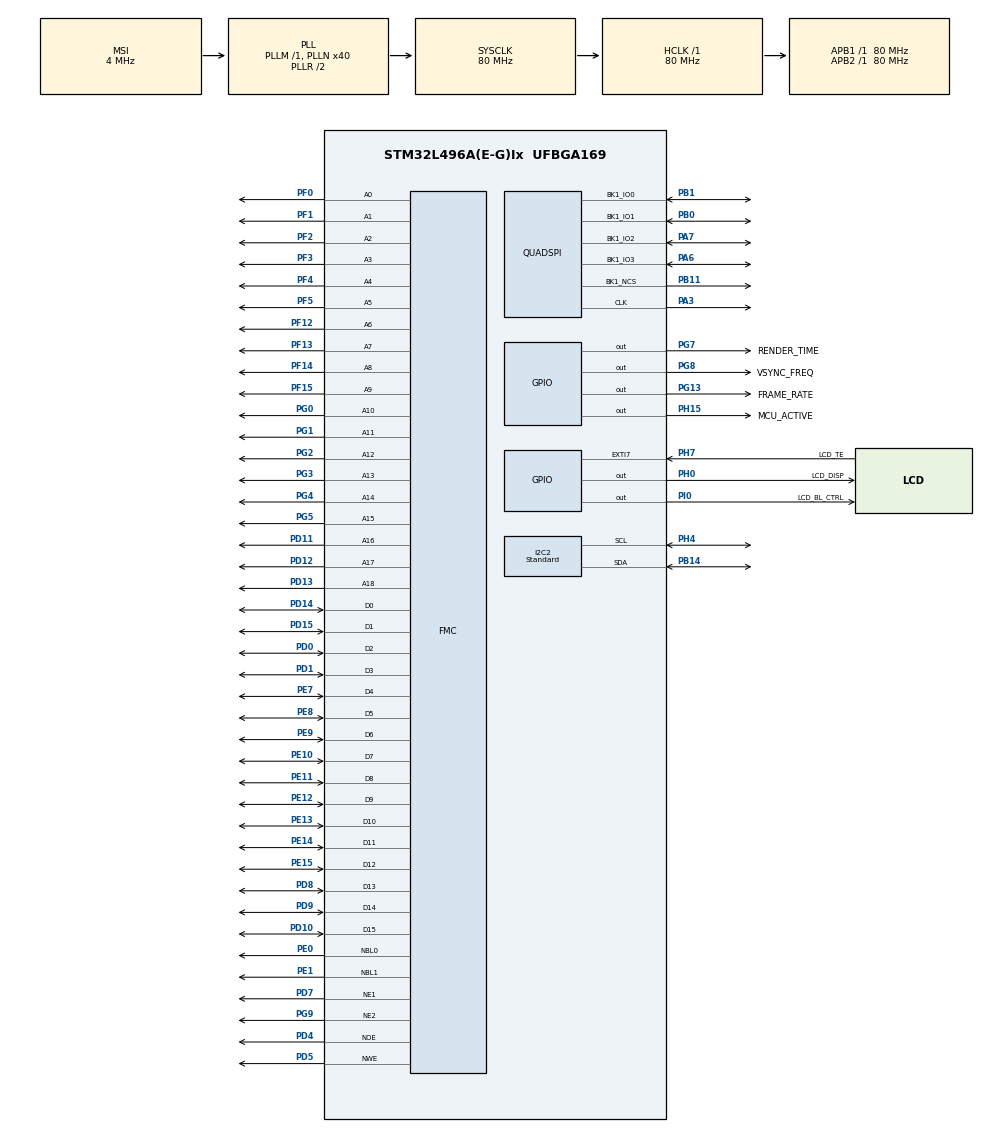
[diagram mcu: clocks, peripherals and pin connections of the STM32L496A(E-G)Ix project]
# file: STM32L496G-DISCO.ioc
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DMA2D.ColorMode=DMA2D_OUTPUT_RGB565
DMA2D.Mode=DMA2D_R2M
FMC.AddressSetupTime1=5
FMC.AddressSetupTime2=5
FMC.BusTurnAroundDuration1=0
FMC.BusTurnAroundDuration2=1
FMC.DataSetupTime1=3
FMC.DataSetupTime2=3
FMC.ExtendedMode1=FMC_EXTENDED_MODE_DISABLE
FMC.ExtendedMode2=FMC_EXTENDED_MODE_DISABLE
FMC.WriteFifo1=FMC_WRITE_FIFO_DISABLE
FMC.WriteFifo2=FMC_WRITE_FIFO_DISABLE
FMC.WriteFifo3=FMC_WRITE_FIFO_DISABLE
FMC.WriteFifo4=FMC_WRITE_FIFO_DISABLE
FMC.WriteOperation2=FMC_WRITE_OPERATION_ENABLE
FREERTOS.INCLUDE_eTaskGetState=1
FREERTOS.INCLUDE_pcTaskGetTaskName=1
FREERTOS.INCLUDE_vTaskCleanUpResources=1
FREERTOS.INCLUDE_vTaskDelayUntil=1
FREERTOS.INCLUDE_xQueueGetMutexHolder=1
FREERTOS.INCLUDE_xSemaphoreGetMutexHolder=0
FREERTOS.INCLUDE_xTaskGetCurrentTaskHandle=1
FREERTOS.INCLUDE_xTaskResumeFromISR=1
FREERTOS.MEMORY_ALLOCATION=0
FREERTOS.Tasks01=defaultTask,24,128,StartDefaultTask,Default,NULL,Dynamic,NULL,NULL;TouchGFXTask,24,2048,TouchGFX_Task,As external,NULL,Dynamic,NULL,NULL
FREERTOS.configTOTAL_HEAP_SIZE=16384
FREERTOS.configUSE_APPLICATION_TASK_TAG=1
FREERTOS.configUSE_COUNTING_SEMAPHORES=1
FREERTOS.configUSE_IDLE_HOOK=1
FREERTOS.configUSE_NEWLIB_REENTRANT=0
FREERTOS.configUSE_RECURSIVE_MUTEXES=1
I2C2.Analog_Filter=I2C_ANALOGFILTER_DISABLE
I2C2.I2C_Coeff_DF=0
I2C2.I2C_Fall_Time=0
I2C2.I2C_Rise_Time=0
I2C2.I2C_Speed_Mode=I2C_Standard
I2C2.OwnAddress=0
I2C2.Timing=0x10909EEE
Mcu.Family=STM32L4
Mcu.Name=STM32L496A(E-G)Ix
Mcu.Package=UFBGA169
NVIC.DMA2D_IRQn=true\:6\:0\:true\:false\:true\:false\:true\:true\:true
NVIC.EXTI9_5_IRQn=true\:5\:0\:true\:false\:true\:false\:true\:true\:true
NVIC.I2C2_EV_IRQn=true\:0\:0\:true\:false\:true\:false\:true\:true\:true
NVIC.PriorityGroup=NVIC_PRIORITYGROUP_4
NVIC.TIM6_DAC_IRQn=true\:0\:0\:false\:false\:true\:false\:false\:true\:true
NVIC.TimeBase=TIM6_DAC_IRQn
NVIC.TimeBaseIP=TIM6
PA3.Mode=Single Bank 1
PA3.Signal=QUADSPI_CLK
PA6.Mode=Single Bank 1
PA6.Signal=QUADSPI_BK1_IO3
PA7.Mode=Single Bank 1
PA7.Signal=QUADSPI_BK1_IO2
PB0.Mode=Single Bank 1
PB0.Signal=QUADSPI_BK1_IO1
PB1.Mode=Single Bank 1
PB1.Signal=QUADSPI_BK1_IO0
PB11.Mode=Single Bank 1
PB11.Signal=QUADSPI_BK1_NCS
PB14.GPIO_Pu=GPIO_PULLUP
PB14.Mode=I2C
PB14.Signal=I2C2_SDA
PC14-OSC32_IN\ (PC14).Mode=LSE-External-Oscillator
PC14-OSC32_IN\ (PC14).Signal=RCC_OSC32_IN
PC15-OSC32_OUT\ (PC15).Mode=LSE-External-Oscillator
PC15-OSC32_OUT\ (PC15).Signal=RCC_OSC32_OUT
PD0.Signal=FMC_D2_DA2
PD1.Signal=FMC_D3_DA3
PD10.Signal=FMC_D15_DA15
PD11.Signal=FMC_A16_CLE
PD12.Signal=FMC_A17_ALE
PD13.Signal=FMC_A18
PD14.Signal=FMC_D0_DA0
PD15.Signal=FMC_D1_DA1
PD4.Signal=FMC_NOE
PD5.Signal=FMC_NWE
PD7.Mode=NorPsramChipSelect1_1
PD7.Signal=FMC_NE1
PD8.Signal=FMC_D13_DA13
PD9.Signal=FMC_D14_DA14
PE0.Signal=FMC_NBL0
PE1.Signal=FMC_NBL1
PE10.Signal=FMC_D7_DA7
PE11.Signal=FMC_D8_DA8
PE12.Signal=FMC_D9_DA9
PE13.Signal=FMC_D10_DA10
PE14.Signal=FMC_D11_DA11
PE15.Signal=FMC_D12_DA12
PE7.Signal=FMC_D4_DA4
PE8.Signal=FMC_D5_DA5
PE9.Signal=FMC_D6_DA6
PF0.Signal=FMC_A0
PF1.Signal=FMC_A1
PF12.Signal=FMC_A6
PF13.Signal=FMC_A7
PF14.Signal=FMC_A8
PF15.Signal=FMC_A9
PF2.Signal=FMC_A2
PF3.Signal=FMC_A3
PF4.Signal=FMC_A4
PF5.Signal=FMC_A5
PG0.Signal=FMC_A10
PG1.Signal=FMC_A11
PG13.GPIO_Label=FRAME_RATE
PG13.GPIO_Speed=GPIO_SPEED_FREQ_VERY_HIGH
PG13.Signal=GPIO_Output
PG2.Signal=FMC_A12
PG3.Signal=FMC_A13
PG4.Signal=FMC_A14
PG5.Signal=FMC_A15
PG7.GPIO_Label=RENDER_TIME
PG7.GPIO_Speed=GPIO_SPEED_FREQ_VERY_HIGH
PG7.Signal=GPIO_Output
PG8.GPIO_Label=VSYNC_FREQ
PG8.GPIO_Speed=GPIO_SPEED_FREQ_VERY_HIGH
PG8.Signal=GPIO_Output
PG9.Mode=NorPsramChipSelect2_2
PG9.Signal=FMC_NE2
PH0-OSC_IN\ (PH0).GPIO_Label=LCD_DISP
PH0-OSC_IN\ (PH0).PinState=GPIO_PIN_SET
PH0-OSC_IN\ (PH0).Signal=GPIO_Output
PH15.GPIO_Label=MCU_ACTIVE
PH15.GPIO_Speed=GPIO_SPEED_FREQ_VERY_HIGH
PH15.Signal=GPIO_Output
PH4.GPIO_Pu=GPIO_PULLUP
PH4.Mode=I2C
PH4.Signal=I2C2_SCL
PH7.GPIO_Label=LCD_TE
PH7.GPIO_ModeDefaultEXTI=GPIO_MODE_IT_RISING_FALLING
PH7.Signal=GPXTI7
PI0.GPIO_Label=LCD_BL_CTRL
PI0.GPIO_Speed=GPIO_SPEED_FREQ_LOW
PI0.Signal=GPIO_Output
ProjectManager.HeapSize=0x400
ProjectManager.StackSize=0x400
ProjectManager.TargetToolchain=STM32CubeIDE
QUADSPI.ClockPrescaler=2
QUADSPI.FifoThreshold=4
QUADSPI.FlashSize=22
QUADSPI.SampleShifting=QSPI_SAMPLE_SHIFTING_HALFCYCLE
RCC.AHBFreq_Value=80000000
RCC.APB1Freq_Value=80000000
RCC.APB1TimFreq_Value=80000000
RCC.APB2Freq_Value=80000000
RCC.APB2TimFreq_Value=80000000
RCC.CortexFreq_Value=80000000
RCC.HCLKFreq_Value=80000000
RCC.HSE_VALUE=8000000
RCC.HSI48_VALUE=48000000
RCC.HSI_VALUE=16000000
RCC.MSI_VALUE=4000000
RCC.PLLN=40
RCC.SYSCLKFreq_VALUE=80000000
RCC.SYSCLKSource=RCC_SYSCLKSOURCE_PLLCLK
RCC.VCOOutputFreq_Value=160000000
SH.FMC_A0.0=FMC_A0,18b-a2
SH.FMC_A1.0=FMC_A1,18b-a2
SH.FMC_A10.0=FMC_A10,18b-a2
SH.FMC_A11.0=FMC_A11,18b-a2
SH.FMC_A12.0=FMC_A12,18b-a2
SH.FMC_A13.0=FMC_A13,18b-a2
SH.FMC_A14.0=FMC_A14,18b-a2
SH.FMC_A15.0=FMC_A15,18b-a2
SH.FMC_A16_CLE.0=FMC_A16,18b-a2
SH.FMC_A17_ALE.0=FMC_A17,18b-a2
SH.FMC_A18.0=FMC_A18,A18_1
SH.FMC_A2.0=FMC_A2,18b-a2
SH.FMC_A3.0=FMC_A3,18b-a2
SH.FMC_A4.0=FMC_A4,18b-a2
SH.FMC_A5.0=FMC_A5,18b-a2
SH.FMC_A6.0=FMC_A6,18b-a2
SH.FMC_A7.0=FMC_A7,18b-a2
SH.FMC_A8.0=FMC_A8,18b-a2
SH.FMC_A9.0=FMC_A9,18b-a2
SH.FMC_D0_DA0.0=FMC_D0,16b-d2
SH.FMC_D0_DA0.1=FMC_D0,16b-d1
SH.FMC_D10_DA10.0=FMC_D10,16b-d2
SH.FMC_D10_DA10.1=FMC_D10,16b-d1
SH.FMC_D11_DA11.0=FMC_D11,16b-d2
SH.FMC_D11_DA11.1=FMC_D11,16b-d1
SH.FMC_D12_DA12.0=FMC_D12,16b-d2
SH.FMC_D12_DA12.1=FMC_D12,16b-d1
SH.FMC_D13_DA13.0=FMC_D13,16b-d2
SH.FMC_D13_DA13.1=FMC_D13,16b-d1
SH.FMC_D14_DA14.0=FMC_D14,16b-d2
SH.FMC_D14_DA14.1=FMC_D14,16b-d1
SH.FMC_D15_DA15.0=FMC_D15,16b-d2
SH.FMC_D15_DA15.1=FMC_D15,16b-d1
SH.FMC_D1_DA1.0=FMC_D1,16b-d2
SH.FMC_D1_DA1.1=FMC_D1,16b-d1
SH.FMC_D2_DA2.0=FMC_D2,16b-d2
SH.FMC_D2_DA2.1=FMC_D2,16b-d1
SH.FMC_D3_DA3.0=FMC_D3,16b-d2
SH.FMC_D3_DA3.1=FMC_D3,16b-d1
SH.FMC_D4_DA4.0=FMC_D4,16b-d2
SH.FMC_D4_DA4.1=FMC_D4,16b-d1
SH.FMC_D5_DA5.0=FMC_D5,16b-d2
SH.FMC_D5_DA5.1=FMC_D5,16b-d1
SH.FMC_D6_DA6.0=FMC_D6,16b-d2
SH.FMC_D6_DA6.1=FMC_D6,16b-d1
SH.FMC_D7_DA7.0=FMC_D7,16b-d2
SH.FMC_D7_DA7.1=FMC_D7,16b-d1
SH.FMC_D8_DA8.0=FMC_D8,16b-d2
SH.FMC_D8_DA8.1=FMC_D8,16b-d1
SH.FMC_D9_DA9.0=FMC_D9,16b-d2
SH.FMC_D9_DA9.1=FMC_D9,16b-d1
SH.FMC_NBL0.0=FMC_NBL0,2ByteEnable2
SH.FMC_NBL1.0=FMC_NBL1,2ByteEnable2
SH.FMC_NOE.0=FMC_NOE,Lcd1
SH.FMC_NOE.1=FMC_NOE,Sram2
SH.FMC_NWE.0=FMC_NWE,Lcd1
SH.FMC_NWE.1=FMC_NWE,Sram2
STMicroelectronics.X-CUBE-TOUCHGFX.4.20.0.ApplicationCcGraphicsJjApplication=TouchGFXOoGenerator
STMicroelectronics.X-CUBE-TOUCHGFX.4.20.0.tgfx_address1=0x64000000
STMicroelectronics.X-CUBE-TOUCHGFX.4.20.0.tgfx_custom_height=240
STMicroelectronics.X-CUBE-TOUCHGFX.4.20.0.tgfx_custom_width=240
STMicroelectronics.X-CUBE-TOUCHGFX.4.20.0.tgfx_display_interface=disp_fmc
STMicroelectronics.X-CUBE-TOUCHGFX.4.20.0.tgfx_fmc_reg_address=0x60000000
STMicroelectronics.X-CUBE-TOUCHGFX.4.20.0.tgfx_hardware_accelerator=dma_2d
STMicroelectronics.X-CUBE-TOUCHGFX.4.20.0.tgfx_location=By Address
VP_CRC_VS_CRC.Mode=CRC_Activate
VP_DMA2D_VS_DMA2D.Mode=DMA2D_Activate
VP_FREERTOS_VS_CMSIS_V1.Mode=CMSIS_V1
VP_STMicroelectronics.X-CUBE-TOUCHGFX_VS_GraphicsJjApplication_4.20.0.Mode=GraphicsJjApplication
VP_SYS_VS_tim6.Mode=TIM6
board=custom

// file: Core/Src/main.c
/* USER CODE BEGIN Header */
/**
  ******************************************************************************
  * @file           : main.c
  * @brief          : Main program body
  ******************************************************************************
  * @attention
  *
  * <h2><center>&copy; Copyright (c) 2020 STMicroelectronics.
  * All rights reserved.</center></h2>
  *
  * This software component is licensed by ST under Ultimate Liberty license
  * SLA0044, the "License"; You may not use this file except in compliance with
  * the License. You may obtain a copy of the License at:
  *                             www.st.com/SLA0044
  *
  ******************************************************************************
  */
/* USER CODE END Header */
#include "main.h"
#include "cmsis_os.h"
#include "app_touchgfx.h"

/* USER CODE BEGIN Includes */
#include "stm32l4xx_hal.h"
#if !defined(USE_BSP_DRIVER)
#include "../mx25r6435f/mx25r6435f.h"
#else
#include "stm32l496g_discovery.h"
#include "stm32l496g_discovery_io.h"
#include "stm32l496g_discovery_qspi.h"
#include "stm32l496g_discovery_lcd.h"
#endif /* ! USE_BSP_DRIVER */

/* USER CODE END Includes */

/* USER CODE BEGIN PD */
/* QSPI Error codes */
#define QSPI_OK            ((uint8_t)0x00)
#define QSPI_ERROR         ((uint8_t)0x01)
#define QSPI_BUSY          ((uint8_t)0x02)
#define QSPI_NOT_SUPPORTED ((uint8_t)0x04)
#define QSPI_SUSPENDED     ((uint8_t)0x08)

#define QSPI_QUAD_DISABLE       0x0
#define QSPI_QUAD_ENABLE        0x1

#define QSPI_HIGH_PERF_DISABLE  0x0
#define QSPI_HIGH_PERF_ENABLE   0x1
/* USER CODE END PD */

 CRC_HandleTypeDef hcrc;

DMA2D_HandleTypeDef hdma2d;

I2C_HandleTypeDef hi2c2;

QSPI_HandleTypeDef hqspi;

SRAM_HandleTypeDef hsram1;
SRAM_HandleTypeDef hsram2;

osThreadId defaultTaskHandle;
osThreadId TouchGFXTaskHandle;

void SystemClock_Config(void);
static void MX_GPIO_Init(void);
static void MX_CRC_Init(void);
static void MX_DMA2D_Init(void);
static void MX_QUADSPI_Init(void);
static void MX_FMC_Init(void);
void StartDefaultTask(void const * argument);
extern void TouchGFX_Task(void const * argument);

/* USER CODE BEGIN PFP */
#if !defined(USE_BSP_DRIVER)
static uint8_t QSPI_ResetMemory(QSPI_HandleTypeDef *hqspi);
static uint8_t QSPI_WriteEnable(QSPI_HandleTypeDef *hqspi);
static uint8_t QSPI_AutoPollingMemReady(QSPI_HandleTypeDef *hqspi, uint32_t Timeout);
static uint8_t QSPI_QuadMode(QSPI_HandleTypeDef *hqspi, uint8_t Operation);
static uint8_t QSPI_HighPerfMode(QSPI_HandleTypeDef *hqspi, uint8_t Operation);
#endif /* ! USE_BSP_DRIVER */
extern void TouchGFX_TickHandler(uint8_t PinStatus);
/* USER CODE END PFP */

int main(void)
{

  /* MCU Configuration--------------------------------------------------------*/

  /* Reset of all peripherals, Initializes the Flash interface and the Systick. */
  HAL_Init();

  /* Configure the system clock */
  SystemClock_Config();

  /* Initialize all configured peripherals */
  MX_GPIO_Init();
  MX_CRC_Init();
  MX_I2C2_Init();
  MX_DMA2D_Init();
  MX_QUADSPI_Init();
  MX_FMC_Init();
  MX_TouchGFX_Init();

  /* Create the thread(s) */
  /* definition and creation of defaultTask */
  osThreadDef(defaultTask, StartDefaultTask, osPriorityNormal, 0, 128);
  defaultTaskHandle = osThreadCreate(osThread(defaultTask), NULL);

  /* definition and creation of TouchGFXTask */
  osThreadDef(TouchGFXTask, TouchGFX_Task, osPriorityNormal, 0, 2048);
  TouchGFXTaskHandle = osThreadCreate(osThread(TouchGFXTask), NULL);

  /* Start scheduler */
  osKernelStart();

  /* We should never get here as control is now taken by the scheduler */
  /* Infinite loop */
  while (1)
  {

  }
}

void SystemClock_Config(void)
{
  RCC_OscInitTypeDef RCC_OscInitStruct = {0};
  RCC_ClkInitTypeDef RCC_ClkInitStruct = {0};

  /** Configure the main internal regulator output voltage
  */
  if (HAL_PWREx_ControlVoltageScaling(PWR_REGULATOR_VOLTAGE_SCALE1) != HAL_OK)
  {
    Error_Handler();
  }

  /** Initializes the RCC Oscillators according to the specified parameters
  * in the RCC_OscInitTypeDef structure.
  */
  RCC_OscInitStruct.OscillatorType = RCC_OSCILLATORTYPE_MSI;
  RCC_OscInitStruct.MSIState = RCC_MSI_ON;
  RCC_OscInitStruct.MSICalibrationValue = 0;
  RCC_OscInitStruct.MSIClockRange = RCC_MSIRANGE_6;
  RCC_OscInitStruct.PLL.PLLState = RCC_PLL_ON;
  RCC_OscInitStruct.PLL.PLLSource = RCC_PLLSOURCE_MSI;
  RCC_OscInitStruct.PLL.PLLM = 1;
  RCC_OscInitStruct.PLL.PLLN = 40;
  RCC_OscInitStruct.PLL.PLLP = RCC_PLLP_DIV2;
  RCC_OscInitStruct.PLL.PLLQ = RCC_PLLQ_DIV2;
  RCC_OscInitStruct.PLL.PLLR = RCC_PLLR_DIV2;
  if (HAL_RCC_OscConfig(&RCC_OscInitStruct) != HAL_OK)
  {
    Error_Handler();
  }

  /** Initializes the CPU, AHB and APB buses clocks
  */
  RCC_ClkInitStruct.ClockType = RCC_CLOCKTYPE_HCLK|RCC_CLOCKTYPE_SYSCLK
                              |RCC_CLOCKTYPE_PCLK1|RCC_CLOCKTYPE_PCLK2;
  RCC_ClkInitStruct.SYSCLKSource = RCC_SYSCLKSOURCE_PLLCLK;
  RCC_ClkInitStruct.AHBCLKDivider = RCC_SYSCLK_DIV1;
  RCC_ClkInitStruct.APB1CLKDivider = RCC_HCLK_DIV1;
  RCC_ClkInitStruct.APB2CLKDivider = RCC_HCLK_DIV1;

  if (HAL_RCC_ClockConfig(&RCC_ClkInitStruct, FLASH_LATENCY_4) != HAL_OK)
  {
    Error_Handler();
  }
}

static void MX_CRC_Init(void)
{

  hcrc.Instance = CRC;
  hcrc.Init.DefaultPolynomialUse = DEFAULT_POLYNOMIAL_ENABLE;
  hcrc.Init.DefaultInitValueUse = DEFAULT_INIT_VALUE_ENABLE;
  hcrc.Init.InputDataInversionMode = CRC_INPUTDATA_INVERSION_NONE;
  hcrc.Init.OutputDataInversionMode = CRC_OUTPUTDATA_INVERSION_DISABLE;
  hcrc.InputDataFormat = CRC_INPUTDATA_FORMAT_BYTES;
  if (HAL_CRC_Init(&hcrc) != HAL_OK)
  {
    Error_Handler();
  }

}

static void MX_DMA2D_Init(void)
{

  hdma2d.Instance = DMA2D;
  hdma2d.Init.Mode = DMA2D_R2M;
  hdma2d.Init.ColorMode = DMA2D_OUTPUT_RGB565;
  hdma2d.Init.OutputOffset = 0;
  if (HAL_DMA2D_Init(&hdma2d) != HAL_OK)
  {
    Error_Handler();
  }

}

void MX_I2C2_Init(void)
{

  hi2c2.Instance = I2C2;
  hi2c2.Init.Timing = 0x10909EEE;
  hi2c2.Init.OwnAddress1 = 0;
  hi2c2.Init.AddressingMode = I2C_ADDRESSINGMODE_7BIT;
  hi2c2.Init.DualAddressMode = I2C_DUALADDRESS_DISABLE;
  hi2c2.Init.OwnAddress2 = 0;
  hi2c2.Init.OwnAddress2Masks = I2C_OA2_NOMASK;
  hi2c2.Init.GeneralCallMode = I2C_GENERALCALL_DISABLE;
  hi2c2.Init.NoStretchMode = I2C_NOSTRETCH_DISABLE;
  if (HAL_I2C_Init(&hi2c2) != HAL_OK)
  {
    Error_Handler();
  }

  /** Configure Analogue filter
  */
  if (HAL_I2CEx_ConfigAnalogFilter(&hi2c2, I2C_ANALOGFILTER_DISABLE) != HAL_OK)
  {
    Error_Handler();
  }

  /** Configure Digital filter
  */
  if (HAL_I2CEx_ConfigDigitalFilter(&hi2c2, 0) != HAL_OK)
  {
    Error_Handler();
  }

}

static void MX_QUADSPI_Init(void)
{

  /* USER CODE BEGIN QUADSPI_Init 0 */
#if !defined(USE_BSP_DRIVER)
  QSPI_CommandTypeDef      sCommand;
  QSPI_MemoryMappedTypeDef sMemMappedCfg;
#endif /* ! USE_BSP_DRIVER */
  /* USER CODE END QUADSPI_Init 0 */

  /* QUADSPI parameter configuration*/
  hqspi.Instance = QUADSPI;
  hqspi.Init.ClockPrescaler = 2;
  hqspi.Init.FifoThreshold = 4;
  hqspi.Init.SampleShifting = QSPI_SAMPLE_SHIFTING_HALFCYCLE;
  hqspi.Init.FlashSize = 22;
  hqspi.Init.ChipSelectHighTime = QSPI_CS_HIGH_TIME_1_CYCLE;
  hqspi.Init.ClockMode = QSPI_CLOCK_MODE_0;
  hqspi.Init.FlashID = QSPI_FLASH_ID_1;
  hqspi.Init.DualFlash = QSPI_DUALFLASH_DISABLE;
  if (HAL_QSPI_Init(&hqspi) != HAL_OK)
  {
    Error_Handler();
  }
  /* USER CODE BEGIN QUADSPI_Init 2 */
#if !defined(USE_BSP_DRIVER)
  /* QSPI memory reset */
  if (QSPI_ResetMemory(&hqspi) != QSPI_OK)
  {
    Error_Handler( );
  }

  /* QSPI quad enable */
  if (QSPI_QuadMode(&hqspi, QSPI_QUAD_ENABLE) != QSPI_OK)
  {
    Error_Handler( );
  }

  /* High performance mode enable */
  if (QSPI_HighPerfMode(&hqspi, QSPI_HIGH_PERF_ENABLE) != QSPI_OK)
  {
    Error_Handler( );
  }

  /* Re-configure the clock for the high performance mode */
  hqspi.Init.ClockPrescaler = 1; /* QSPI clock = 80MHz / (ClockPrescaler+1) = 40MHz */

  if (HAL_QSPI_Init(&hqspi) != HAL_OK)
  {
    Error_Handler( );
  }

  /* Configure the command for the read instruction */
  sCommand.InstructionMode    = QSPI_INSTRUCTION_1_LINE;
  sCommand.Instruction        = QUAD_INOUT_READ_CMD;
  sCommand.AddressMode        = QSPI_ADDRESS_4_LINES;
  sCommand.AddressSize        = QSPI_ADDRESS_24_BITS;
  sCommand.AlternateByteMode  = QSPI_ALTERNATE_BYTES_4_LINES;
  sCommand.AlternateBytesSize = QSPI_ALTERNATE_BYTES_8_BITS;
  sCommand.AlternateBytes     = MX25R6435F_ALT_BYTES_NO_PE_MODE;
  sCommand.DataMode           = QSPI_DATA_4_LINES;
  sCommand.DummyCycles        = MX25R6435F_DUMMY_CYCLES_READ_QUAD;
  sCommand.DdrMode            = QSPI_DDR_MODE_DISABLE;
  sCommand.DdrHoldHalfCycle   = QSPI_DDR_HHC_ANALOG_DELAY;
  sCommand.SIOOMode           = QSPI_SIOO_INST_EVERY_CMD;

  /* Configure the memory mapped mode */
  sMemMappedCfg.TimeOutActivation = QSPI_TIMEOUT_COUNTER_DISABLE;

  if (HAL_QSPI_MemoryMapped(&hqspi, &sCommand, &sMemMappedCfg) != HAL_OK)
  {
    Error_Handler( );
  }
#else
  /* Re-Initialize the QSPI */
  BSP_QSPI_DeInit();

  if (BSP_QSPI_Init() != QSPI_OK)
  {
    Error_Handler( );
  }
  if (BSP_QSPI_EnableMemoryMappedMode() != QSPI_OK)
  {
    Error_Handler( );
  }
  HAL_NVIC_DisableIRQ(QUADSPI_IRQn);
#endif /* ! USE_BSP_DRIVER */
  /* USER CODE END QUADSPI_Init 2 */

}

/* FMC initialization function */
static void MX_FMC_Init(void)
{

  FMC_NORSRAM_TimingTypeDef Timing = {0};

  /** Perform the SRAM1 memory initialization sequence
  */
  hsram1.Instance = FMC_NORSRAM_DEVICE;
  hsram1.Extended = FMC_NORSRAM_EXTENDED_DEVICE;
  /* hsram1.Init */
  hsram1.Init.NSBank = FMC_NORSRAM_BANK1;
  hsram1.Init.DataAddressMux = FMC_DATA_ADDRESS_MUX_DISABLE;
  hsram1.Init.MemoryType = FMC_MEMORY_TYPE_SRAM;
  hsram1.Init.MemoryDataWidth = FMC_NORSRAM_MEM_BUS_WIDTH_16;
  hsram1.Init.BurstAccessMode = FMC_BURST_ACCESS_MODE_DISABLE;
  hsram1.Init.WaitSignalPolarity = FMC_WAIT_SIGNAL_POLARITY_LOW;
  hsram1.Init.WaitSignalActive = FMC_WAIT_TIMING_BEFORE_WS;
  hsram1.Init.WriteOperation = FMC_WRITE_OPERATION_ENABLE;
  hsram1.Init.WaitSignal = FMC_WAIT_SIGNAL_DISABLE;
  hsram1.Init.ExtendedMode = FMC_EXTENDED_MODE_DISABLE;
  hsram1.Init.AsynchronousWait = FMC_ASYNCHRONOUS_WAIT_DISABLE;
  hsram1.Init.WriteBurst = FMC_WRITE_BURST_DISABLE;
  hsram1.Init.ContinuousClock = FMC_CONTINUOUS_CLOCK_SYNC_ONLY;
  hsram1.Init.WriteFifo = FMC_WRITE_FIFO_DISABLE;
  hsram1.Init.PageSize = FMC_PAGE_SIZE_NONE;
  /* Timing */
  Timing.AddressSetupTime = 5;
  Timing.AddressHoldTime = 15;
  Timing.DataSetupTime = 3;
  Timing.BusTurnAroundDuration = 0;
  Timing.CLKDivision = 16;
  Timing.DataLatency = 17;
  Timing.AccessMode = FMC_ACCESS_MODE_A;
  /* ExtTiming */

  if (HAL_SRAM_Init(&hsram1, &Timing, NULL) != HAL_OK)
  {
    Error_Handler( );
  }

  /** Perform the SRAM2 memory initialization sequence
  */
  hsram2.Instance = FMC_NORSRAM_DEVICE;
  hsram2.Extended = FMC_NORSRAM_EXTENDED_DEVICE;
  /* hsram2.Init */
  hsram2.Init.NSBank = FMC_NORSRAM_BANK2;
  hsram2.Init.DataAddressMux = FMC_DATA_ADDRESS_MUX_DISABLE;
  hsram2.Init.MemoryType = FMC_MEMORY_TYPE_SRAM;
  hsram2.Init.MemoryDataWidth = FMC_NORSRAM_MEM_BUS_WIDTH_16;
  hsram2.Init.BurstAccessMode = FMC_BURST_ACCESS_MODE_DISABLE;
  hsram2.Init.WaitSignalPolarity = FMC_WAIT_SIGNAL_POLARITY_LOW;
  hsram2.Init.WaitSignalActive = FMC_WAIT_TIMING_BEFORE_WS;
  hsram2.Init.WriteOperation = FMC_WRITE_OPERATION_ENABLE;
  hsram2.Init.WaitSignal = FMC_WAIT_SIGNAL_DISABLE;
  hsram2.Init.ExtendedMode = FMC_EXTENDED_MODE_DISABLE;
  hsram2.Init.AsynchronousWait = FMC_ASYNCHRONOUS_WAIT_DISABLE;
  hsram2.Init.WriteBurst = FMC_WRITE_BURST_DISABLE;
  hsram2.Init.ContinuousClock = FMC_CONTINUOUS_CLOCK_SYNC_ONLY;
  hsram2.Init.WriteFifo = FMC_WRITE_FIFO_DISABLE;
  hsram2.Init.PageSize = FMC_PAGE_SIZE_NONE;
  /* Timing */
  Timing.AddressSetupTime = 5;
  Timing.AddressHoldTime = 15;
  Timing.DataSetupTime = 3;
  Timing.BusTurnAroundDuration = 1;
  Timing.CLKDivision = 16;
  Timing.DataLatency = 17;
  Timing.AccessMode = FMC_ACCESS_MODE_A;
  /* ExtTiming */

  if (HAL_SRAM_Init(&hsram2, &Timing, NULL) != HAL_OK)
  {
    Error_Handler( );
  }

}

static void MX_GPIO_Init(void)
{
  GPIO_InitTypeDef GPIO_InitStruct = {0};

  /* GPIO Ports Clock Enable */
  __HAL_RCC_GPIOE_CLK_ENABLE();
  __HAL_RCC_GPIOI_CLK_ENABLE();
  __HAL_RCC_GPIOG_CLK_ENABLE();
  HAL_PWREx_EnableVddIO2();
  __HAL_RCC_GPIOD_CLK_ENABLE();
  __HAL_RCC_GPIOH_CLK_ENABLE();
  __HAL_RCC_GPIOC_CLK_ENABLE();
  __HAL_RCC_GPIOF_CLK_ENABLE();
  __HAL_RCC_GPIOB_CLK_ENABLE();
  __HAL_RCC_GPIOA_CLK_ENABLE();

  /*Configure GPIO pin Output Level */
  HAL_GPIO_WritePin(LCD_BL_CTRL_GPIO_Port, LCD_BL_CTRL_Pin, GPIO_PIN_RESET);

  /*Configure GPIO pin Output Level */
  HAL_GPIO_WritePin(MCU_ACTIVE_GPIO_Port, MCU_ACTIVE_Pin, GPIO_PIN_RESET);

  /*Configure GPIO pin Output Level */
  HAL_GPIO_WritePin(GPIOG, FRAME_RATE_Pin|VSYNC_FREQ_Pin|RENDER_TIME_Pin, GPIO_PIN_RESET);

  /*Configure GPIO pin Output Level */
  HAL_GPIO_WritePin(LCD_DISP_GPIO_Port, LCD_DISP_Pin, GPIO_PIN_SET);

  /*Configure GPIO pin : LCD_BL_CTRL_Pin */
  GPIO_InitStruct.Pin = LCD_BL_CTRL_Pin;
  GPIO_InitStruct.Mode = GPIO_MODE_OUTPUT_PP;
  GPIO_InitStruct.Pull = GPIO_NOPULL;
  GPIO_InitStruct.Speed = GPIO_SPEED_FREQ_LOW;
  HAL_GPIO_Init(LCD_BL_CTRL_GPIO_Port, &GPIO_InitStruct);

  /*Configure GPIO pin : MCU_ACTIVE_Pin */
  GPIO_InitStruct.Pin = MCU_ACTIVE_Pin;
  GPIO_InitStruct.Mode = GPIO_MODE_OUTPUT_PP;
  GPIO_InitStruct.Pull = GPIO_NOPULL;
  GPIO_InitStruct.Speed = GPIO_SPEED_FREQ_VERY_HIGH;
  HAL_GPIO_Init(MCU_ACTIVE_GPIO_Port, &GPIO_InitStruct);

  /*Configure GPIO pin : LCD_TE_Pin */
  GPIO_InitStruct.Pin = LCD_TE_Pin;
  GPIO_InitStruct.Mode = GPIO_MODE_IT_RISING_FALLING;
  GPIO_InitStruct.Pull = GPIO_NOPULL;
  HAL_GPIO_Init(LCD_TE_GPIO_Port, &GPIO_InitStruct);

  /*Configure GPIO pins : FRAME_RATE_Pin VSYNC_FREQ_Pin RENDER_TIME_Pin */
  GPIO_InitStruct.Pin = FRAME_RATE_Pin|VSYNC_FREQ_Pin|RENDER_TIME_Pin;
  GPIO_InitStruct.Mode = GPIO_MODE_OUTPUT_PP;
  GPIO_InitStruct.Pull = GPIO_NOPULL;
  GPIO_InitStruct.Speed = GPIO_SPEED_FREQ_VERY_HIGH;
  HAL_GPIO_Init(GPIOG, &GPIO_InitStruct);

  /*Configure GPIO pin : LCD_DISP_Pin */
  GPIO_InitStruct.Pin = LCD_DISP_Pin;
  GPIO_InitStruct.Mode = GPIO_MODE_OUTPUT_PP;
  GPIO_InitStruct.Pull = GPIO_NOPULL;
  GPIO_InitStruct.Speed = GPIO_SPEED_FREQ_LOW;
  HAL_GPIO_Init(LCD_DISP_GPIO_Port, &GPIO_InitStruct);

  /* EXTI interrupt init*/
  HAL_NVIC_SetPriority(EXTI9_5_IRQn, 5, 0);
  HAL_NVIC_EnableIRQ(EXTI9_5_IRQn);

}

/* USER CODE BEGIN 4 */
#if !defined(USE_BSP_DRIVER)
/**
  * @brief  This function reset the QSPI memory.
  * @param  hqspi : QSPI handle
  * @retval None
  */
static uint8_t QSPI_ResetMemory(QSPI_HandleTypeDef *hqspi)
{
  QSPI_CommandTypeDef sCommand;

  /* Initialize the reset enable command */
  sCommand.InstructionMode   = QSPI_INSTRUCTION_1_LINE;
  sCommand.Instruction       = RESET_ENABLE_CMD;
  sCommand.AddressMode       = QSPI_ADDRESS_NONE;
  sCommand.AlternateByteMode = QSPI_ALTERNATE_BYTES_NONE;
  sCommand.DataMode          = QSPI_DATA_NONE;
  sCommand.DummyCycles       = 0;
  sCommand.DdrMode           = QSPI_DDR_MODE_DISABLE;
  sCommand.DdrHoldHalfCycle  = QSPI_DDR_HHC_ANALOG_DELAY;
  sCommand.SIOOMode          = QSPI_SIOO_INST_EVERY_CMD;

  /* Send the command */
  if (HAL_QSPI_Command(hqspi, &sCommand, HAL_QPSI_TIMEOUT_DEFAULT_VALUE) != HAL_OK)
  {
    return QSPI_ERROR;
  }

  /* Send the reset memory command */
  sCommand.Instruction = RESET_MEMORY_CMD;
  if (HAL_QSPI_Command(hqspi, &sCommand, HAL_QPSI_TIMEOUT_DEFAULT_VALUE) != HAL_OK)
  {
    return QSPI_ERROR;
  }

  /* Configure automatic polling mode to wait the memory is ready */
  if (QSPI_AutoPollingMemReady(hqspi, HAL_QPSI_TIMEOUT_DEFAULT_VALUE) != QSPI_OK)
  {
    return QSPI_ERROR;
  }

  return QSPI_OK;
}

/**
  * @brief  This function send a Write Enable and wait it is effective.
  * @param  hqspi : QSPI handle
  * @retval None
  */
static uint8_t QSPI_WriteEnable(QSPI_HandleTypeDef *hqspi)
{
  QSPI_CommandTypeDef     sCommand;
  QSPI_AutoPollingTypeDef sConfig;

  /* Enable write operations */
  sCommand.InstructionMode   = QSPI_INSTRUCTION_1_LINE;
  sCommand.Instruction       = WRITE_ENABLE_CMD;
  sCommand.AddressMode       = QSPI_ADDRESS_NONE;
  sCommand.AlternateByteMode = QSPI_ALTERNATE_BYTES_NONE;
  sCommand.DataMode          = QSPI_DATA_NONE;
  sCommand.DummyCycles       = 0;
  sCommand.DdrMode           = QSPI_DDR_MODE_DISABLE;
  sCommand.DdrHoldHalfCycle  = QSPI_DDR_HHC_ANALOG_DELAY;
  sCommand.SIOOMode          = QSPI_SIOO_INST_EVERY_CMD;

  if (HAL_QSPI_Command(hqspi, &sCommand, HAL_QPSI_TIMEOUT_DEFAULT_VALUE) != HAL_OK)
  {
    return QSPI_ERROR;
  }

  /* Configure automatic polling mode to wait for write enabling */
  sConfig.Match           = MX25R6435F_SR_WEL;
  sConfig.Mask            = MX25R6435F_SR_WEL;
  sConfig.MatchMode       = QSPI_MATCH_MODE_AND;
  sConfig.StatusBytesSize = 1;
  sConfig.Interval        = 0x10;
  sConfig.AutomaticStop   = QSPI_AUTOMATIC_STOP_ENABLE;

  sCommand.Instruction    = READ_STATUS_REG_CMD;
  sCommand.DataMode       = QSPI_DATA_1_LINE;

  if (HAL_QSPI_AutoPolling(hqspi, &sCommand, &sConfig, HAL_QPSI_TIMEOUT_DEFAULT_VALUE) != HAL_OK)
  {
    return QSPI_ERROR;
  }

  return QSPI_OK;
}

/**
  * @brief  This function read the SR of the memory and wait the EOP.
  * @param  hqspi   : QSPI handle
  * @param  Timeout : Timeout for auto-polling
  * @retval None
  */
static uint8_t QSPI_AutoPollingMemReady(QSPI_HandleTypeDef *hqspi, uint32_t Timeout)
{
  QSPI_CommandTypeDef     sCommand;
  QSPI_AutoPollingTypeDef sConfig;

  /* Configure automatic polling mode to wait for memory ready */
  sCommand.InstructionMode   = QSPI_INSTRUCTION_1_LINE;
  sCommand.Instruction       = READ_STATUS_REG_CMD;
  sCommand.AddressMode       = QSPI_ADDRESS_NONE;
  sCommand.AlternateByteMode = QSPI_ALTERNATE_BYTES_NONE;
  sCommand.DataMode          = QSPI_DATA_1_LINE;
  sCommand.DummyCycles       = 0;
  sCommand.DdrMode           = QSPI_DDR_MODE_DISABLE;
  sCommand.DdrHoldHalfCycle  = QSPI_DDR_HHC_ANALOG_DELAY;
  sCommand.SIOOMode          = QSPI_SIOO_INST_EVERY_CMD;

  sConfig.Match           = 0;
  sConfig.Mask            = MX25R6435F_SR_WIP;
  sConfig.MatchMode       = QSPI_MATCH_MODE_AND;
  sConfig.StatusBytesSize = 1;
  sConfig.Interval        = 0x10;
  sConfig.AutomaticStop   = QSPI_AUTOMATIC_STOP_ENABLE;

  if (HAL_QSPI_AutoPolling(hqspi, &sCommand, &sConfig, Timeout) != HAL_OK)
  {
    return QSPI_ERROR;
  }

  return QSPI_OK;
}

/**
  * @brief  This function enables/disables the Quad mode of the memory.
  * @param  hqspi     : QSPI handle
  * @param  Operation : QSPI_QUAD_ENABLE or QSPI_QUAD_DISABLE mode
  * @retval None
  */
static uint8_t QSPI_QuadMode(QSPI_HandleTypeDef *hqspi, uint8_t Operation)
{
  QSPI_CommandTypeDef sCommand;
  uint8_t reg;

  /* Read status register */
  sCommand.InstructionMode   = QSPI_INSTRUCTION_1_LINE;
  sCommand.Instruction       = READ_STATUS_REG_CMD;
  sCommand.AddressMode       = QSPI_ADDRESS_NONE;
  sCommand.AlternateByteMode = QSPI_ALTERNATE_BYTES_NONE;
  sCommand.DataMode          = QSPI_DATA_1_LINE;
  sCommand.DummyCycles       = 0;
  sCommand.NbData            = 1;
  sCommand.DdrMode           = QSPI_DDR_MODE_DISABLE;
  sCommand.DdrHoldHalfCycle  = QSPI_DDR_HHC_ANALOG_DELAY;
  sCommand.SIOOMode          = QSPI_SIOO_INST_EVERY_CMD;

  if (HAL_QSPI_Command(hqspi, &sCommand, HAL_QPSI_TIMEOUT_DEFAULT_VALUE) != HAL_OK)
  {
    return QSPI_ERROR;
  }

  if (HAL_QSPI_Receive(hqspi, &reg, HAL_QPSI_TIMEOUT_DEFAULT_VALUE) != HAL_OK)
  {
    return QSPI_ERROR;
  }

  /* Enable write operations */
  if (QSPI_WriteEnable(hqspi) != QSPI_OK)
  {
    return QSPI_ERROR;
  }

  /* Activate/deactivate the Quad mode */
  if (Operation == QSPI_QUAD_ENABLE)
  {
    SET_BIT(reg, MX25R6435F_SR_QE);
  }
  else
  {
    CLEAR_BIT(reg, MX25R6435F_SR_QE);
  }

  sCommand.Instruction = WRITE_STATUS_CFG_REG_CMD;

  if (HAL_QSPI_Command(hqspi, &sCommand, HAL_QPSI_TIMEOUT_DEFAULT_VALUE) != HAL_OK)
  {
    return QSPI_ERROR;
  }

  if (HAL_QSPI_Transmit(hqspi, &reg, HAL_QPSI_TIMEOUT_DEFAULT_VALUE) != HAL_OK)
  {
    return QSPI_ERROR;
  }

  /* Wait that memory is ready */
  if (QSPI_AutoPollingMemReady(hqspi, HAL_QPSI_TIMEOUT_DEFAULT_VALUE) != QSPI_OK)
  {
    return QSPI_ERROR;
  }

  /* Check the configuration has been correctly done */
  sCommand.Instruction = READ_STATUS_REG_CMD;

  if (HAL_QSPI_Command(hqspi, &sCommand, HAL_QPSI_TIMEOUT_DEFAULT_VALUE) != HAL_OK)
  {
    return QSPI_ERROR;
  }

  if (HAL_QSPI_Receive(hqspi, &reg, HAL_QPSI_TIMEOUT_DEFAULT_VALUE) != HAL_OK)
  {
    return QSPI_ERROR;
  }

  if ((((reg & MX25R6435F_SR_QE) == 0) && (Operation == QSPI_QUAD_ENABLE)) ||
      (((reg & MX25R6435F_SR_QE) != 0) && (Operation == QSPI_QUAD_DISABLE)))
  {
    return QSPI_ERROR;
  }

  return QSPI_OK;
}

/**
  * @brief  This function enables/disables the high performance mode of the memory.
  * @param  hqspi     : QSPI handle
  * @param  Operation : QSPI_HIGH_PERF_ENABLE or QSPI_HIGH_PERF_DISABLE high performance mode
  * @retval None
  */
static uint8_t QSPI_HighPerfMode(QSPI_HandleTypeDef *hqspi, uint8_t Operation)
{
  QSPI_CommandTypeDef sCommand;
  uint8_t reg[3];

  /* Read status register */
  sCommand.InstructionMode   = QSPI_INSTRUCTION_1_LINE;
  sCommand.Instruction       = READ_STATUS_REG_CMD;
  sCommand.AddressMode       = QSPI_ADDRESS_NONE;
  sCommand.AlternateByteMode = QSPI_ALTERNATE_BYTES_NONE;
  sCommand.DataMode          = QSPI_DATA_1_LINE;
  sCommand.DummyCycles       = 0;
  sCommand.NbData            = 1;
  sCommand.DdrMode           = QSPI_DDR_MODE_DISABLE;
  sCommand.DdrHoldHalfCycle  = QSPI_DDR_HHC_ANALOG_DELAY;
  sCommand.SIOOMode          = QSPI_SIOO_INST_EVERY_CMD;

  if (HAL_QSPI_Command(hqspi, &sCommand, HAL_QPSI_TIMEOUT_DEFAULT_VALUE) != HAL_OK)
  {
    return QSPI_ERROR;
  }

  if (HAL_QSPI_Receive(hqspi, &(reg[0]), HAL_QPSI_TIMEOUT_DEFAULT_VALUE) != HAL_OK)
  {
    return QSPI_ERROR;
  }

  /* Read configuration registers */
  sCommand.Instruction = READ_CFG_REG_CMD;
  sCommand.NbData      = 2;

  if (HAL_QSPI_Command(hqspi, &sCommand, HAL_QPSI_TIMEOUT_DEFAULT_VALUE) != HAL_OK)
  {
    return QSPI_ERROR;
  }

  if (HAL_QSPI_Receive(hqspi, &(reg[1]), HAL_QPSI_TIMEOUT_DEFAULT_VALUE) != HAL_OK)
  {
    return QSPI_ERROR;
  }

  /* Enable write operations */
  if (QSPI_WriteEnable(hqspi) != QSPI_OK)
  {
    return QSPI_ERROR;
  }

  /* Activate/deactivate the Quad mode */
  if (Operation == QSPI_HIGH_PERF_ENABLE)
  {
    SET_BIT(reg[2], MX25R6435F_CR2_LH_SWITCH);
  }
  else
  {
    CLEAR_BIT(reg[2], MX25R6435F_CR2_LH_SWITCH);
  }

  sCommand.Instruction = WRITE_STATUS_CFG_REG_CMD;
  sCommand.NbData      = 3;

  if (HAL_QSPI_Command(hqspi, &sCommand, HAL_QPSI_TIMEOUT_DEFAULT_VALUE) != HAL_OK)
  {
    return QSPI_ERROR;
  }

  if (HAL_QSPI_Transmit(hqspi, &(reg[0]), HAL_QPSI_TIMEOUT_DEFAULT_VALUE) != HAL_OK)
  {
    return QSPI_ERROR;
  }

  /* Wait that memory is ready */
  if (QSPI_AutoPollingMemReady(hqspi, HAL_QPSI_TIMEOUT_DEFAULT_VALUE) != QSPI_OK)
  {
    return QSPI_ERROR;
  }

  /* Check the configuration has been correctly done */
  sCommand.Instruction = READ_CFG_REG_CMD;
  sCommand.NbData      = 2;

  if (HAL_QSPI_Command(hqspi, &sCommand, HAL_QPSI_TIMEOUT_DEFAULT_VALUE) != HAL_OK)
  {
    return QSPI_ERROR;
  }

  if (HAL_QSPI_Receive(hqspi, &(reg[0]), HAL_QPSI_TIMEOUT_DEFAULT_VALUE) != HAL_OK)
  {
    return QSPI_ERROR;
  }

  if ((((reg[1] & MX25R6435F_CR2_LH_SWITCH) == 0) && (Operation == QSPI_HIGH_PERF_ENABLE)) ||
      (((reg[1] & MX25R6435F_CR2_LH_SWITCH) != 0) && (Operation == QSPI_HIGH_PERF_DISABLE)))
  {
    return QSPI_ERROR;
  }

  return QSPI_OK;
}
#endif /* ! USE_BSP_DRIVER */

void HAL_GPIO_EXTI_Callback(uint16_t GPIO_Pin)
{
  /* Prevent unused argument(s) compilation warning */
  if(GPIO_Pin == LCD_TE_Pin)
  {
    uint8_t PinStatus = (HAL_GPIO_ReadPin(LCD_TE_GPIO_Port, LCD_TE_Pin) == GPIO_PIN_SET ? 1 : 0);

    TouchGFX_TickHandler(PinStatus);
  }
}
/* USER CODE END 4 */

void StartDefaultTask(void const * argument)
{
  /* USER CODE BEGIN 5 */
  /* Infinite loop */
  for(;;)
  {
    osDelay(100);
  }
  /* USER CODE END 5 */
}

void HAL_TIM_PeriodElapsedCallback(TIM_HandleTypeDef *htim)
{
  if (htim->Instance == TIM6) {
    HAL_IncTick();
  }
}

void Error_Handler(void)
{
}

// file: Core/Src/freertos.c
/* USER CODE BEGIN Header */
/**
  ******************************************************************************
  * File Name          : freertos.c
  * Description        : Code for freertos applications
  ******************************************************************************
  * @attention
  *
  * <h2><center>&copy; Copyright (c) 2020 STMicroelectronics.
  * All rights reserved.</center></h2>
  *
  * This software component is licensed by ST under Ultimate Liberty license
  * SLA0044, the "License"; You may not use this file except in compliance with
  * the License. You may obtain a copy of the License at:
  *                             www.st.com/SLA0044
  *
  ******************************************************************************
  */
/* USER CODE END Header */

#include "FreeRTOS.h"
#include "task.h"
#include "main.h"

/* USER CODE BEGIN FunctionPrototypes */
   extern portBASE_TYPE IdleTaskHook(void* p);
/* USER CODE END FunctionPrototypes */

/* Hook prototypes */
void vApplicationIdleHook(void);

/* USER CODE BEGIN 2 */
void vApplicationIdleHook( void )
{
   /* vApplicationIdleHook() will only be called if configUSE_IDLE_HOOK is set
   to 1 in FreeRTOSConfig.h. It will be called on each iteration of the idle
   task. It is essential that code added to this hook function never attempts
   to block in any way (for example, call xQueueReceive() with a block time
   specified, or call vTaskDelay()). If the application makes use of the
   vTaskDelete() API function (as this demo application does) then it is also
   important that vApplicationIdleHook() is permitted to return to its calling
   function, because it is the responsibility of the idle task to clean up
   memory allocated by the kernel to any task that has since been deleted. */

  vTaskSetApplicationTaskTag(NULL, IdleTaskHook);
}
/* USER CODE END 2 */
